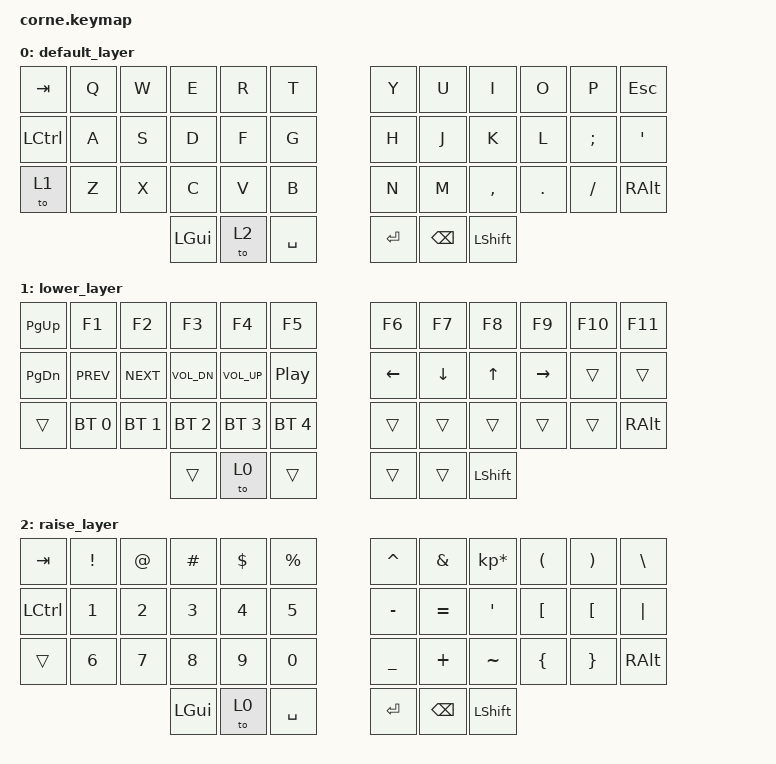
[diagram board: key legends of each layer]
/*
 * Copyright (c) 2020 The ZMK Contributors
 *
 * SPDX-License-Identifier: MIT
 */

#include <behaviors.dtsi>
#include <dt-bindings/zmk/keys.h>
#include <dt-bindings/zmk/bt.h>

/ {
        keymap {
                compatible = "zmk,keymap";

                default_layer {
// -----------------------------------------------------------------------------------------
// |  TAB |  Q  |  W  |  E  |  R  |  T  |   |  Y  |  U   |  I  |  O  |  P  | ESC  |
// | CTRL |  A  |  S  |  D  |  F  |  G  |   |  H  |  J   |  K  |  L  | ; : | ' "  |
// | LWR  |  Z  |  X  |  C  |  V  |  B  |   |  N  |  M   | , < | . > | / ? | ALT  |
//                    | GUI | RSE | SPC |   | ENT | BSPC | SHFT|
                        bindings = <
   &kp TAB   &kp Q &kp W &kp E &kp R &kp T   &kp Y &kp U  &kp I     &kp O   &kp P    &kp ESC
   &kp LCTRL &kp A &kp S &kp D &kp F &kp G   &kp H &kp J  &kp K     &kp L   &kp SEMI &kp SQT
   &to 1     &kp Z &kp X &kp C &kp V &kp B   &kp N &kp M  &kp COMMA &kp DOT &kp FSLH &kp RALT
                  &kp LGUI &to 2 &kp SPACE   &kp ENTER &kp BSPC &kp LSHFT
                        >;
                };
                lower_layer {
// -----------------------------------------------------------------------------------------
// |   pg^|  F1 |  F2 | F3  | F4  | F5 |        | F6  | F7  | F8  | F9  |F10  | F11  |
// |  pgv |prev |next |vol- |vol+ |ply/paus|    | LFT | DWN |  UP | RGT |     |      |
// | LWR |BT1| BT2 |BT3  |BT4  |BT5  |         |     |    |   | togbt usb   |sleep| ALT|
//                 |     | RSE |     |         |     |    | SHFT|
                        bindings = <
   &kp PG_UP    &kp F1       &kp F2       &kp F3       &kp F4       &kp F5         &kp F6   &kp F7   &kp F8 &kp F9    &kp F10 &kp F11
   &kp PG_DN &kp C_PREV &kp C_NEXT &kp C_VOL_DN &kp C_VOL_UP &kp C_PP   &kp LEFT &kp DOWN &kp UP &kp RIGHT &trans &trans
  &trans  &bt BT_SEL 0   &bt BT_SEL 1   &bt BT_SEL 2   &bt BT_SEL 3  &bt BT_SEL 4          &trans   &trans   &trans &trans  &trans  &kp RALT
                                    &trans     &to 0       &trans      &trans  &trans  &kp LSHFT
                        >;
                };

                raise_layer {
// -----------------------------------------------------------------------------------------
// |  TAB |  !  |  @  |  #  |  $  |  %  |   |  ^  |  &  |  *  |  (  |  )  |  \ |
// | CTRL |  1  |  2  |  3  |  4  |  5  |   |  -  |  =  |  `  |  [  |  ]  |''|'|
// | LWR  |  6  |  7  |   8 |  9  |  0  |   |  _  |  +  |  ~  |  {  |  }  | ALT|
//                    | GUI | RSE | SPC |   | ENT | BSPC| SHFT|
                        bindings = <
   &kp  TAB  &kp EXCL &kp AT &kp HASH &kp DLLR &kp PRCNT   &kp CARET &kp AMPS  &kp KP_MULTIPLY &kp LPAR &kp RPAR &kp BSLH
   &kp LCTRL &kp N1   &kp N2 &kp N3   &kp N4   &kp N5      &kp MINUS &kp EQUAL &kp SQT        &kp LBKT &kp LBKT &kp PIPE
   &trans    &kp N6   &kp N7 &kp N8   &kp N9   &kp N0      &kp UNDER &kp PLUS  &kp TILDE        &kp LBRC &kp RBRC &kp RALT
                             &kp LGUI &to 0   &kp SPACE   &kp ENTER   &kp BSPC   &kp LSHFT
                        >;
                };
        };
};
